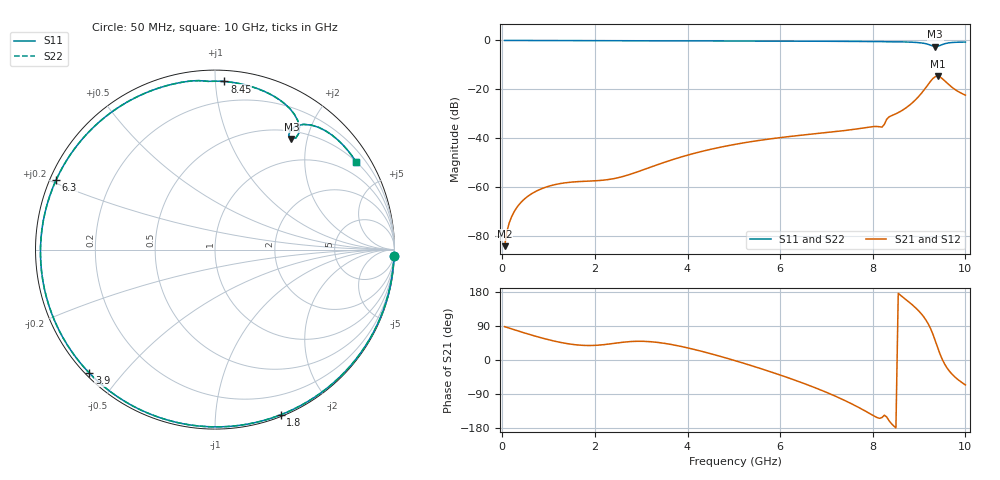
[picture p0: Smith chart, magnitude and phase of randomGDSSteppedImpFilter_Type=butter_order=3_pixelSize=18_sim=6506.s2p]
! freq	dB(S11)	phase(S11)	dB(S12)	phase(S12)
!  dB(S21)	phase(S21)	dB(S22)	phase(S22)
!S-par simulation data
#  GHz  S  DB  R 50
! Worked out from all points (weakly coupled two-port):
!   200 points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, 50 MHz to 10 GHz, reference 50 ohm
!   highest |S21| = -14.60 dB at 9.4 GHz (marker M1); lowest = -84.0 dB at 50 MHz (marker M2)
!   lowest |S11| = -2.5 dB at 9.35 GHz (marker M3), VSWR 6.97, Z = 30.9 + j86.8 ohm
!   |S11| at or under -10 dB: nowhere
!   |S22| runs from -2.5 to 0.0 dB; largest |S21 - S12| = 0
!   S11 on the Smith chart (normalised r, x): 50 MHz: 3, -60; 1.8 GHz: 0.02, -1.47; 3.9 GHz: 0.01, -0.41; 6.3 GHz: 0.02, +0.21; 8.45 GHz: 0.07, +1.06; 10 GHz: 0.50, +3.44
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0.05  -0.02 -1.9  -84.05 88.0  -84.05 88.0  -0.02 -1.9
0.25  -0.02 -9.8  -70.17 80.2  -70.17 80.2  -0.02 -9.8
0.6  -0.03 -23.6  -63.03 66.9  -63.03 66.9  -0.03 -23.6
1.1  -0.05 -42.7  -59.07 50.6  -59.07 50.6  -0.05 -42.7
1.75  -0.08 -66.5  -57.56 38.6  -57.56 38.6  -0.08 -66.6
1.8  -0.08 -68.3  -57.52 38.4  -57.52 38.4  -0.08 -68.3
2.55  -0.11 -93.8  -55.86 46.1  -55.86 46.1  -0.11 -93.9
3.4  -0.14 -120.6  -50.44 45.7  -50.44 45.7  -0.14 -120.6
3.9  -0.16 -135.4  -47.41 34.8  -47.41 34.8  -0.16 -135.5
5.05  -0.22 -168.2  -42.37 -2.6  -42.37 -2.6  -0.22 -168.2
6.3  -0.30 156.3  -39.04 -52.4  -39.04 -52.4  -0.30 156.2
6.7  -0.32 144.5  -38.24 -70.6  -38.24 -70.6  -0.32 144.4
7.5  -0.39 119.6  -36.56 -113.0  -36.56 -113.0  -0.39 119.6
8.2  -0.48 95.5  -35.41 -151.7  -35.41 -151.7  -0.49 95.5
8.35  -0.55 90.4  -31.26 -159.8  -31.26 -159.8  -0.56 90.4
8.45  -0.56 86.8  -30.39 -173.7  -30.39 -173.7  -0.56 86.8
8.8  -0.69 72.9  -26.35 151.2  -26.35 151.2  -0.69 72.9
9.1  -1.17 59.6  -20.43 114.0  -20.43 114.0  -1.17 59.6
9.35  -2.51 55.4  -14.81 50.8  -14.81 50.8  -2.51 55.4
9.4  -2.42 57.2  -14.60 33.1  -14.60 33.1  -2.42 57.2
9.6  -1.14 52.3  -17.35 -20.3  -17.35 -20.3  -1.14 52.3
10  -0.67 31.8  -22.36 -65.8  -22.36 -65.8  -0.67 31.8
